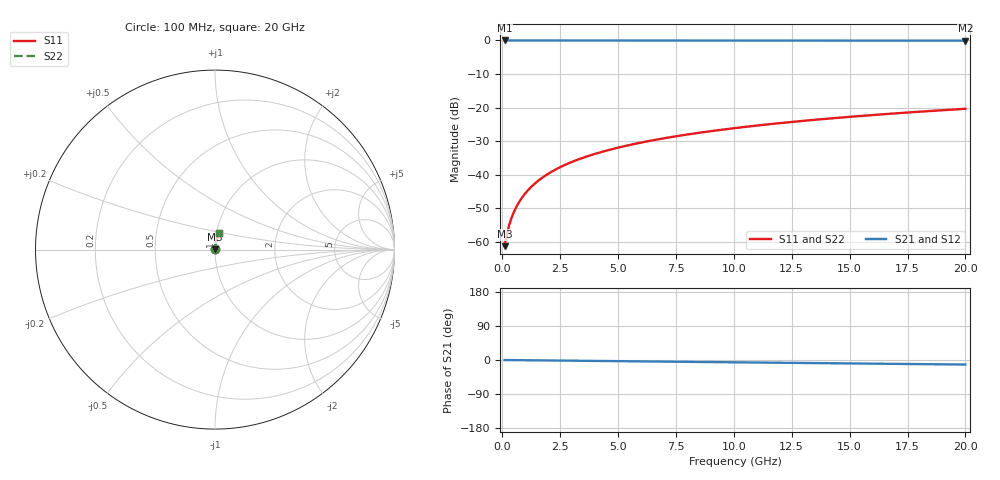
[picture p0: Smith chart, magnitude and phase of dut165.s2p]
! Touchstone file exported from HFSS 2026.1.0
!  File:  C:/ffzhzh/LocalFiles/Ansys_Project_Files/temp_train_BSMRDL_165_1782986866_45328.aedt
!  Generated:  06:09:26 PM Jul  2, 2026
!  Design:  BSMRDL
!  Project:  temp_train_BSMRDL_165_1782986866_45328
! Variables:
!  h_bsmrdl = 5.29um
!  h_ox = 20um
!  h_rdl = 5um
!  h_sub = 80um
!  h_tmrdl = 5um
!  h_tsv = 80um
!  h_via = 3um
!  l_bsmrdl = 163.56um
!  l_sub = 563.56um
!  l_tmrdl = 200um
!  m_sub = 200um
!  pitch = 41.22um
!  r_tsv = 6um
!  s_tmrdl = 10um
!  w_bsmrdl = 22.91um
!  w_sub = 500um
!  w_tmrdl = 12um
!  x_tsv_center1 = 206um
!  x_tsv_center2 = 392.47um
!  x_tsv_center3 = 604.47um
!  x_tsv_center4 = 790.94um
!  x_tsv_center5 = 1002.94um
!  x_tsv_center6 = 1189.41um
# GHz S MA R 50.000000
! Terminal data exported
! Port[1] = BSM_RDL1_1_T1
! Port[2] = BSM_RDL1_1_T2
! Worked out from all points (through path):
!   200 points, 100 MHz to 20 GHz, reference 50 ohm
!   highest |S21| = -0.01 dB at 100 MHz (marker M1); lowest = -0.1 dB at 20 GHz (marker M2)
!   group delay of S21, straight-line fit = 1.66 ps
!   lowest |S11| = -61.3 dB at 100 MHz (marker M3), VSWR 1.00, Z = 50.1 + j0.0589 ohm
!   |S11| at or under -10 dB: start of sweep to end of sweep
!   |S22| runs from -61.3 to -20.4 dB; largest |S21 - S12| = 3.2e-15
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0.1  0.0008657 42.8  0.9994 -0.1  0.9994 -0.1  0.0008657 42.8
! Gamma 0 0 0 0
! Port Impedance 50 0 50 0
0.2  0.001323 58.7  0.9993 -0.1  0.9993 -0.1  0.001323 58.7
0.3  0.001803 66.2  0.9993 -0.2  0.9993 -0.2  0.001803 66.2
0.4  0.002291 70.7  0.9992 -0.3  0.9992 -0.3  0.002291 70.7
0.5  0.002787 73.8  0.9992 -0.3  0.9992 -0.3  0.002787 73.8
0.6  0.003288 75.9  0.9992 -0.4  0.9992 -0.4  0.003288 75.9
0.8  0.004304 78.7  0.9992 -0.5  0.9992 -0.5  0.004304 78.7
1.1  0.00584 80.9  0.9991 -0.7  0.9991 -0.7  0.00584 80.9
1.3  0.006867 81.8  0.9991 -0.8  0.9991 -0.8  0.006867 81.8
1.5  0.007894 82.4  0.999 -0.9  0.999 -0.9  0.007894 82.4
1.8  0.00943 82.9  0.999 -1.1  0.999 -1.1  0.00943 82.9
2.1  0.01096 83.2  0.9989 -1.3  0.9989 -1.3  0.01096 83.2
2.7  0.014 83.4  0.9987 -1.7  0.9987 -1.7  0.014 83.4
3.5  0.01799 83.4  0.9984 -2.2  0.9984 -2.2  0.01799 83.4
4.2  0.02145 83.2  0.9982 -2.6  0.9982 -2.6  0.02145 83.2
5  0.02536 83.0  0.9979 -3.1  0.9979 -3.1  0.02536 83.0
6.8  0.03407 82.3  0.9973 -4.2  0.9973 -4.2  0.03407 82.3
8.3  0.04125 81.6  0.9968 -5.1  0.9968 -5.1  0.04125 81.6
10.1  0.04983 80.8  0.9961 -6.1  0.9961 -6.1  0.04983 80.8
13.4  0.06541 79.2  0.9948 -8.1  0.9948 -8.1  0.06541 79.2
16.7  0.08082 77.5  0.9933 -10.1  0.9933 -10.1  0.08082 77.5
20  0.09605 75.8  0.9916 -12.0  0.9916 -12.0  0.09605 75.7
